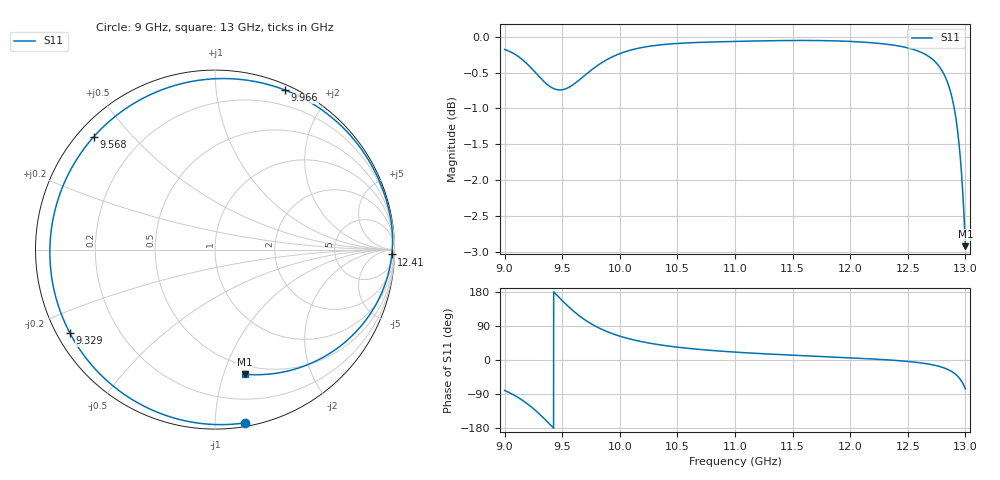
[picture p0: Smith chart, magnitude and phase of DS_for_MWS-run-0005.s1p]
! TOUCHSTONE file generated by CST DESIGN STUDIO
! Date and time: Tue Feb  4 17:22:51 2025
! Project name: C:\Work\MatlabApps\UnitCellOptimizationMatlab\CST\unitcell.cst
! Tree item: Tasks\Sweep1\SPara1\S-Parameters
! Header version: 2024
! Port assignment regex: !\s*Touchstone port\s*([0-9]+)\s*=\s*(CST MWS port|CST DES external port|CST DES block port)\s*(.+)\s* \(\"(.*)\"\)(\s*mode\s*([0-9]+))?.*
! Touchstone port assignment:
! Touchstone port 1 = CST DES external port 1 ("")
# GHz S MA R 50
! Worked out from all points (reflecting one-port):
!   4001 points, 9 GHz to 13 GHz, reference 50 ohm
!   lowest |S11| = -2.9 dB at 13 GHz (marker M1), VSWR 6.01, Z = 20.8 - j59 ohm
!   phase of S11 starts at -80 deg and turns -356 deg over the sweep
!   S11 on the Smith chart (normalised r, x): 9 GHz: 0.02, -1.19; 9.329 GHz: 0.04, -0.27; 9.568 GHz: 0.05, +0.39; 9.966 GHz: 0.05, +1.53; 12.41 GHz: 31, -57; 13 GHz: 0.42, -1.18
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9  0.9796 -80.3
9.1  0.971 -95.9
9.181  0.9597 -111.9
9.255  0.9465 -129.6
9.329  0.9327 -150.2
9.373  0.9258 -163.5
9.415  0.9209 -176.7
9.457  0.9184 170.1
9.5  0.9183 156.8
9.568  0.9229 137.1
9.646  0.9326 117.2
9.73  0.9447 99.5
9.846  0.9594 80.6
9.966  0.9707 66.3
10  0.9732 62.9
10.216  0.9835 46.8
10.5  0.9892 33.8
11  0.9924 20.8
11.5  0.9939 12.7
12  0.9924 5.7
12.413  0.9854 -1.6
12.5  0.9822 -3.8
12.709  0.9651 -12.3
12.855  0.9243 -26.0
12.898  0.8959 -33.7
12.933  0.8589 -42.9
12.959  0.8178 -52.4
13  0.7145 -76.5
